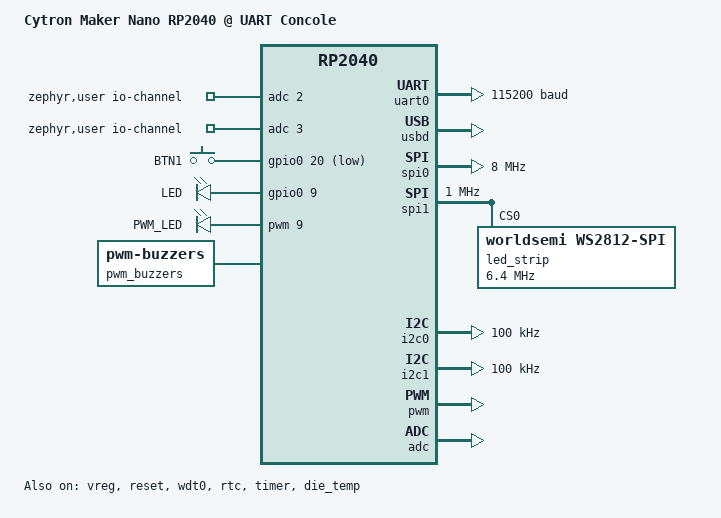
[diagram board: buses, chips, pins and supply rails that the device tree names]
/*
 * SPDX-FileCopyrightText: Copyright (c) 2023-2026 TiaC Systems
 * SPDX-License-Identifier: Apache-2.0
 */

/dts-v1/;

#include <freq.h>
#include <mem.h>

#include <raspberrypi/rpi_pico/rp2040.dtsi>
#include <raspberrypi/partitions_2M_default.dtsi>

#include <zephyr/dt-bindings/clock/rpi_pico_rp2040_clock.h>
#include <zephyr/dt-bindings/regulator/rpi_pico.h>

#include <zephyr/dt-bindings/gpio/gpio.h>
#include <zephyr/dt-bindings/i2c/i2c.h>
#include <zephyr/dt-bindings/led/led.h>
#include <zephyr/dt-bindings/pwm/pwm.h>

#include <zephyr/dt-bindings/input/input-event-codes.h>
#include <zephyr/dt-bindings/lvgl/lvgl.h>

#include "arduino_nano_connector.dtsi"
#include "stemma_qt_connector.dtsi"
#include "seeed_grove_connectors.dtsi"
#include "cytron_maker_nano_rp2040-pinctrl.dtsi"

/ {
	model = "Cytron Maker Nano RP2040 @ UART Concole";
	compatible = "cytron,maker-nano-rp2040",
		     "cytron,maker-nano-rp2040-uartcons";

	chosen {
		zephyr,sram = &sram0;
		zephyr,flash = &flash0;
		zephyr,flash-controller = &ssi;
		zephyr,code-partition = &code_partition;
		zephyr,console = &uart0;
		zephyr,shell-uart = &uart0;
	};

	aliases {
		watchdog0 = &wdt0;
		sw0 = &btn0;
		led0 = &led0;
		pwm-led0 = &pwm_led0;
		pwm-buzzer0 = &pwm_buzzer0;
		led-strip = &led_strip;
	};

	zephyr,user {
		io-channels = <&adc 2>, <&adc 3>;
	};

	lvgl_keypad: lvgl-keypad {
		compatible = "zephyr,lvgl-keypad-input";
		input = <&gpio_keys>;
		input-codes = <INPUT_KEY_0>;
		lvgl-codes = <LV_KEY_ENTER>;
	};

	gpio_keys: gpio_keys {
		compatible = "gpio-keys";

		btn0: btn_0 {
			gpios = <&gpio0 20 GPIO_ACTIVE_LOW>;
			zephyr,code = <INPUT_KEY_0>;
			label = "BTN1";
		};
	};

	gpio_leds: gpio_leds {
		compatible = "gpio-leds";

		led0: led_0 {
			gpios = <&gpio0 9 GPIO_ACTIVE_HIGH>;
			label = "LED";
		};
	};

	pwm_leds: pwm_leds {
		compatible = "pwm-leds";

		pwm_led0: pwm_led_0 {
			pwms = <&pwm 9 PWM_MSEC(20) PWM_POLARITY_NORMAL>;
			label = "PWM_LED";
		};
	};

	pwm_buzzers {
		compatible = "pwm-buzzers";

		pwm_buzzer0: pwm_buzzer0 {
			pwms = <&pwm 6 PWM_HZ(880) PWM_POLARITY_NORMAL>;
			label = "PWM_BUZZER";
		};
	};
};

&flash0 {
	status = "okay";
	reg = <0x10000000 DT_SIZE_M(2)>;
	ranges = <0x0 0x10000000 DT_SIZE_M(2)>;
};

&clocks {
	status = "okay";
	pinctrl-0 = <&clocks_default>;
	pinctrl-names = "default";
};

&vreg {
	status = "okay";
	regulator-always-on;
	regulator-allowed-modes = <REGULATOR_RPI_PICO_MODE_NORMAL>;
};

&reset {
	status = "okay";
};

&wdt0 {
	status = "okay";
};

&rtc {
	status = "okay";
	clocks = <&clocks RPI_PICO_CLKID_CLK_RTC>;
};

&timer {
	status = "okay";
};

&dma {
	status = "okay";
};

&die_temp {
	status = "okay";
	friendly-name = "RP2040 chip temperature";
};

&uart0 {
	status = "okay";
	pinctrl-0 = <&uart0_default>;
	pinctrl-names = "default";
	current-speed = <115200>;
};

zephyr_udc0: &usbd {
	status = "okay";
};

&spi0 {
	status = "okay";
	pinctrl-0 = <&spi0_default>;
	pinctrl-names = "default";
	clock-frequency = <DT_FREQ_M(8)>;
};

&spi1 {
	status = "okay";
	pinctrl-0 = <&spi1_ws2812_default>;
	pinctrl-names = "default";

	clock-frequency = <DT_FREQ_M(1)>;

	led_strip: ws2812@0 {
		compatible = "worldsemi,ws2812-spi";
		status = "okay";

		reg = <0>;
		spi-max-frequency = <DT_FREQ_K(6400)>;	/* Tbit = 156.25 ns */

		/* HI: 0xFC: 11111100: 0.937 us high and 0.313 us low */
		/* LO: 0xC0: 11000000: 0.313 us high and 0.937 us low */
		spi-one-frame = <0xfc>;
		spi-zero-frame = <0xc0>;

		chain-length = <2>;
		color-mapping = <LED_COLOR_ID_GREEN
				 LED_COLOR_ID_RED
				 LED_COLOR_ID_BLUE>;
	};
};

&i2c0 {
	status = "okay";
	pinctrl-0 = <&i2c0_default>;
	pinctrl-names = "default";
	clock-frequency = <I2C_BITRATE_STANDARD>;
};

&i2c1 {
	status = "okay";
	pinctrl-0 = <&i2c1_default>;
	pinctrl-names = "default";
	clock-frequency = <I2C_BITRATE_STANDARD>;
};

&pwm {
	status = "okay";
	pinctrl-0 = <&pwm_default>;
	pinctrl-names = "default";
	divider-int-3 = <255>;	/* buzzer: PWM3CHA (6) */
	divider-int-4 = <255>;	/* led:    PWM4CHB (9) */
	divider-frac-4 = <15>;
};

&adc {
	status = "okay";
	pinctrl-0 = <&adc_default>;
	pinctrl-names = "default";
};

&gpio0 {
	status = "okay";
	/* namespace and positions without wired bits */
	gpio-reserved-ranges = <10 1>, <21 1>, <23 3>;
	gpio-line-names =
		"AH1Q02_TX0",		/* GP0 */
		"AH2Q01_RX0",		/* GP1 */
		"AH5",			/* GP2 */
		"AH6",			/* GP3 */
		"AH7",			/* GP4 */
		"AH8",			/* GP5 */
		"AH9",			/* GP6 */
		"AH10",			/* GP7 */
		"AH11",			/* GP8 */
		"AH12_ULED0",		/* GP9 */
		"",	 /* not connected, GP10 */
		"RGB_SDO1",		/* GP11 */
		"AH23_SDA0",		/* GP12 */
		"AH24_SCL0",		/* GP13 */
		"AH25",			/* GP14 */
		"AH26",			/* GP15 */
		"AH15_SDI0",		/* GP16 */
		"AH13_CSN0",		/* GP17 */
		"AH16_SCK0",		/* GP18 */
		"AH14_SDO0",		/* GP19 */
		"UBTN0",		/* GP20 */
		"",	 /* not connected, GP21 */
		"BUZZER_PWM6",		/* GP22 */
		"",	 /* not connected, GP23 */
		"",	 /* not connected, GP24 */
		"",	 /* not connected, GP25 */
		"AH19Q12_SDA1",		/* GP26 */
		"AH20Q11_SCL1",		/* GP27 */
		"AH21_ADC2",		/* GP28 */
		"AH22_ADC3";		/* GP29 */
};
